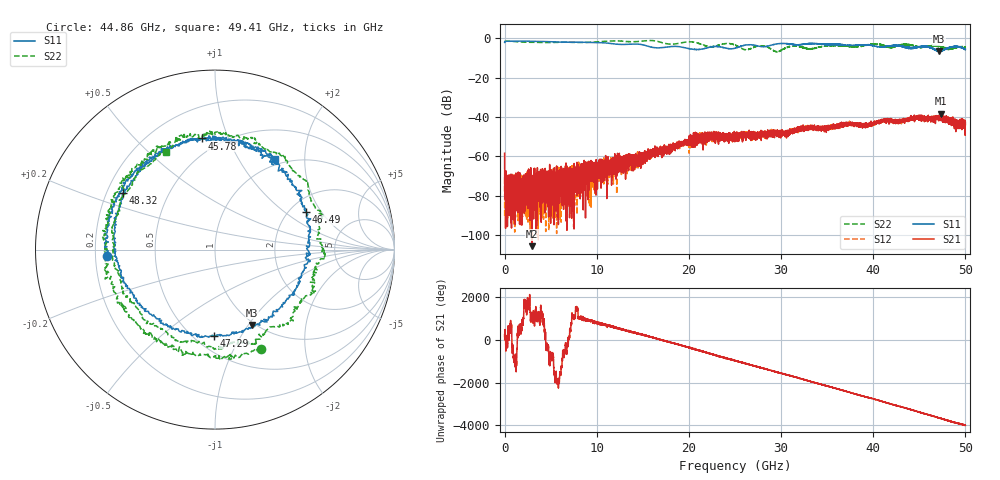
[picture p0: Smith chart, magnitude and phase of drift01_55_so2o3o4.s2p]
!Created with skrf (http://scikit-rf.org).
# Hz S RI R 50.0
!freq ReS11 ImS11 ReS21 ImS21 ReS12 ImS12 ReS22 ImS22
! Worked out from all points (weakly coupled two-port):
!   10001 points, 300 kHz to 50 GHz, reference 50 ohm
!   highest |S21| = -38.29 dB at 47.39 GHz (marker M1); lowest = -105.6 dB at 2.975 GHz (marker M2)
!   lowest |S11| = -6.6 dB at 47.12 GHz (marker M3), VSWR 2.77, Z = 48.5 - j52.3 ohm
!   |S11| at or under -10 dB: nowhere
!   |S22| runs from -6.9 to -1.0 dB; largest |S21 - S12| = 0.0034
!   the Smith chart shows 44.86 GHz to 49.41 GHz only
!   S11 on the Smith chart (normalised r, x): 44.86 GHz: 0.25, -0.03; 45.78 GHz: 0.40, +0.81; 46.49 GHz: 2.45, +1.46; 47.29 GHz: 0.62, -0.77; 48.32 GHz: 0.27, +0.26; 49.41 GHz: 0.91, +1.44
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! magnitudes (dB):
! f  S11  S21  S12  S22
! 300 kHz  -2.0  -58.4  -70.8  -1.3
! 255.3 MHz  -1.4  -78.3  -75.1  -1.4
! 2.975 GHz  -1.5  -105.6  -69.6  -2.0
! 6.45 GHz  -1.9  -84.4  -74.3  -1.9
! 8.335 GHz  -1.9  -74.1  -70.2  -2.1
! 16.67 GHz  -4.8  -56.4  -57.5  -1.6
! 21.32 GHz  -5.5  -51.6  -49.5  -2.9
! 25 GHz  -5.0  -49.6  -49.7  -3.4
! 28.12 GHz  -4.2  -48.9  -48.7  -3.8
! 29.53 GHz  -2.8  -47.4  -48.8  -6.7
! 31.29 GHz  -3.1  -47.6  -46.6  -4.0
! 33.34 GHz  -2.6  -45.2  -45.7  -5.4
! 41.67 GHz  -3.9  -41.1  -41.5  -4.5
! 44.86 GHz  -4.4  -39.8  -40.0  -4.3
! 45.78 GHz  -4.1  -40.1  -39.8  -4.0
! 46.49 GHz  -5.2  -42.5  -41.3  -3.9
! 47.12 GHz  -6.6  -40.4  -40.1  -4.0
! 47.29 GHz  -6.4  -39.6  -40.6  -4.0
! 47.39 GHz  -6.3  -38.3  -40.7  -4.9
! 48.32 GHz  -4.4  -42.6  -41.5  -5.4
! 49.41 GHz  -4.4  -45.7  -44.1  -4.3
! 50 GHz  -5.6  -43.9  -42.7  -4.2
